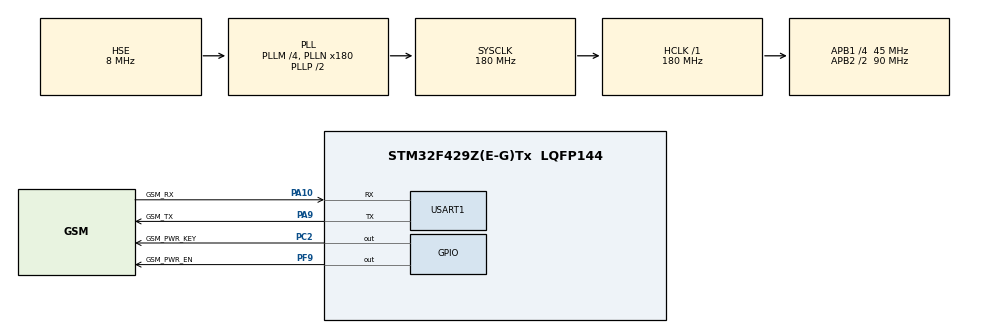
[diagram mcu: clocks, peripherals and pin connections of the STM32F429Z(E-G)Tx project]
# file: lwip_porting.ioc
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Dma.Request0=USART1_RX
Dma.Request1=USART1_TX
Dma.USART1_RX.0.Direction=DMA_PERIPH_TO_MEMORY
Dma.USART1_RX.0.FIFOMode=DMA_FIFOMODE_DISABLE
Dma.USART1_RX.0.Instance=DMA2_Stream2
Dma.USART1_RX.0.MemDataAlignment=DMA_MDATAALIGN_BYTE
Dma.USART1_RX.0.MemInc=DMA_MINC_ENABLE
Dma.USART1_RX.0.Mode=DMA_CIRCULAR
Dma.USART1_RX.0.PeriphDataAlignment=DMA_PDATAALIGN_BYTE
Dma.USART1_RX.0.PeriphInc=DMA_PINC_DISABLE
Dma.USART1_RX.0.Priority=DMA_PRIORITY_LOW
Dma.USART1_TX.1.Direction=DMA_MEMORY_TO_PERIPH
Dma.USART1_TX.1.FIFOMode=DMA_FIFOMODE_DISABLE
Dma.USART1_TX.1.Instance=DMA2_Stream7
Dma.USART1_TX.1.MemDataAlignment=DMA_MDATAALIGN_BYTE
Dma.USART1_TX.1.MemInc=DMA_MINC_ENABLE
Dma.USART1_TX.1.Mode=DMA_NORMAL
Dma.USART1_TX.1.PeriphDataAlignment=DMA_PDATAALIGN_BYTE
Dma.USART1_TX.1.PeriphInc=DMA_PINC_DISABLE
Dma.USART1_TX.1.Priority=DMA_PRIORITY_LOW
Mcu.Family=STM32F4
Mcu.Name=STM32F429Z(E-G)Tx
Mcu.Package=LQFP144
NVIC.DMA2_Stream2_IRQn=true\:0\:0\:false\:false\:true\:false\:true
NVIC.DMA2_Stream7_IRQn=true\:0\:0\:false\:false\:true\:false\:true
NVIC.PriorityGroup=NVIC_PRIORITYGROUP_4
NVIC.USART1_IRQn=true\:0\:0\:false\:false\:true\:true\:true
PA10.GPIO_Label=GSM_RX
PA10.Mode=Asynchronous
PA10.Signal=USART1_RX
PA13.Mode=Serial_Wire
PA13.Signal=SYS_JTMS-SWDIO
PA14.Mode=Serial_Wire
PA14.Signal=SYS_JTCK-SWCLK
PA9.GPIO_Label=GSM_TX
PA9.Mode=Asynchronous
PA9.Signal=USART1_TX
PC2.GPIO_Label=GSM_PWR_KEY
PC2.Signal=GPIO_Output
PF9.GPIO_Label=GSM_PWR_EN
PF9.Signal=GPIO_Output
PH0/OSC_IN.Mode=HSE-External-Oscillator
PH0/OSC_IN.Signal=RCC_OSC_IN
PH1/OSC_OUT.Mode=HSE-External-Oscillator
PH1/OSC_OUT.Signal=RCC_OSC_OUT
ProjectManager.HeapSize=0x200
ProjectManager.StackSize=0x400
ProjectManager.TargetToolchain=MDK-ARM V5.32
RCC.48MHZClocksFreq_Value=90000000
RCC.AHBFreq_Value=180000000
RCC.APB1CLKDivider=RCC_HCLK_DIV4
RCC.APB1Freq_Value=45000000
RCC.APB1TimFreq_Value=90000000
RCC.APB2CLKDivider=RCC_HCLK_DIV2
RCC.APB2Freq_Value=90000000
RCC.APB2TimFreq_Value=180000000
RCC.CortexFreq_Value=180000000
RCC.HCLKFreq_Value=180000000
RCC.HSE_VALUE=8000000
RCC.HSI_VALUE=16000000
RCC.LSE_VALUE=32768
RCC.PLLM=4
RCC.PLLN=180
RCC.PLLSourceVirtual=RCC_PLLSOURCE_HSE
RCC.SYSCLKFreq_VALUE=180000000
RCC.SYSCLKSource=RCC_SYSCLKSOURCE_PLLCLK
RCC.VCOOutputFreq_Value=360000000
USART1.VirtualMode=VM_ASYNC
board=custom

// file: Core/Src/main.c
/* USER CODE BEGIN Header */
/**
  ******************************************************************************
  * @file           : main.c
  * @brief          : Main program body
  ******************************************************************************
  * @attention
  *
  * <h2><center>&copy; Copyright (c) 2021 STMicroelectronics.
  * All rights reserved.</center></h2>
  *
  * This software component is licensed by ST under BSD 3-Clause license,
  * the "License"; You may not use this file except in compliance with the
  * License. You may obtain a copy of the License at:
  *                        opensource.org/licenses/BSD-3-Clause
  *
  ******************************************************************************
  */
/* USER CODE END Header */
#include "main.h"
#include "dma.h"
#include "usart.h"
#include "gpio.h"

/* USER CODE BEGIN Includes */
#include "init.h"
#include "ppp.h"
#include "dns.h"
#include "app_debug.h"
#include "gsm.h"
#include "mqtt_client.h"
#include "app_http.h"
/* USER CODE END Includes */

/* USER CODE BEGIN PTD */
#define HTTP_ENABLE	0
#define MQTT_ENABLE	1
/* USER CODE END PTD */

void SystemClock_Config(void);

/* USER CODE BEGIN 0 */
static void dns_initialize(void);
/* USER CODE END 0 */

int main(void)
{

  /* MCU Configuration--------------------------------------------------------*/

  /* Reset of all peripherals, Initializes the Flash interface and the Systick. */
  HAL_Init();

  /* Configure the system clock */
  SystemClock_Config();

  /* Initialize all configured peripherals */
  MX_GPIO_Init();
  MX_DMA_Init();
  MX_USART1_UART_Init();
  /* USER CODE BEGIN 2 */
    dns_initialize();
    lwip_init();
    DEBUG_INFO("Application started\r\n");
    gsm_init_hw();

    /* Init mqtt parameter */
    static mqtt_client_cfg_t mqtt_cfg =
    {
        .periodic_sub_req_s = 120,            // second
        .broker_addr = "broker.hivemq.com",
        .port = 1883,
        .password = NULL,
        .client_id = "test_lwip_porting",
    };
    mqtt_client_initialize(&mqtt_cfg);

    // Init http parameters
#if HTTP_ENABLE
    bool m_http_test_started = false;
#endif
  /* USER CODE END 2 */

  /* Infinite loop */
  while (1)
  {

    /* USER CODE BEGIN 3 */
    gsm_mnr_task(NULL);
#if MQTT_ENABLE
    mqtt_client_polling_task(NULL);
#endif

#if HTTP_ENABLE
    if (gsm_data_layer_is_ppp_connected() && m_http_test_started == false)
    {
        m_http_test_started = true;
        // http://httpbin.org/get
        app_http_config_t http_cfg;
        sprintf(http_cfg.url, "%s", "httpbin.org");
        http_cfg.port = 80;
        sprintf(http_cfg.file, "%s", "/get");
        http_cfg.on_event_cb = (void*)0;
        app_http_start(&http_cfg);
    }
#endif
  }
  /* USER CODE END 3 */
}

void SystemClock_Config(void)
{
  RCC_OscInitTypeDef RCC_OscInitStruct = {0};
  RCC_ClkInitTypeDef RCC_ClkInitStruct = {0};

  /** Configure the main internal regulator output voltage
  */
  __HAL_RCC_PWR_CLK_ENABLE();
  __HAL_PWR_VOLTAGESCALING_CONFIG(PWR_REGULATOR_VOLTAGE_SCALE1);
  /** Initializes the RCC Oscillators according to the specified parameters
  * in the RCC_OscInitTypeDef structure.
  */
  RCC_OscInitStruct.OscillatorType = RCC_OSCILLATORTYPE_HSE;
  RCC_OscInitStruct.HSEState = RCC_HSE_ON;
  RCC_OscInitStruct.PLL.PLLState = RCC_PLL_ON;
  RCC_OscInitStruct.PLL.PLLSource = RCC_PLLSOURCE_HSE;
  RCC_OscInitStruct.PLL.PLLM = 4;
  RCC_OscInitStruct.PLL.PLLN = 180;
  RCC_OscInitStruct.PLL.PLLP = RCC_PLLP_DIV2;
  RCC_OscInitStruct.PLL.PLLQ = 4;
  if (HAL_RCC_OscConfig(&RCC_OscInitStruct) != HAL_OK)
  {
    Error_Handler();
  }
  /** Activate the Over-Drive mode
  */
  if (HAL_PWREx_EnableOverDrive() != HAL_OK)
  {
    Error_Handler();
  }
  /** Initializes the CPU, AHB and APB buses clocks
  */
  RCC_ClkInitStruct.ClockType = RCC_CLOCKTYPE_HCLK|RCC_CLOCKTYPE_SYSCLK
                              |RCC_CLOCKTYPE_PCLK1|RCC_CLOCKTYPE_PCLK2;
  RCC_ClkInitStruct.SYSCLKSource = RCC_SYSCLKSOURCE_PLLCLK;
  RCC_ClkInitStruct.AHBCLKDivider = RCC_SYSCLK_DIV1;
  RCC_ClkInitStruct.APB1CLKDivider = RCC_HCLK_DIV4;
  RCC_ClkInitStruct.APB2CLKDivider = RCC_HCLK_DIV2;

  if (HAL_RCC_ClockConfig(&RCC_ClkInitStruct, FLASH_LATENCY_5) != HAL_OK)
  {
    Error_Handler();
  }
}

/* USER CODE BEGIN 4 */
uint32_t sys_get_tick_ms(void)
{
    return uwTick;
}

static void dns_initialize(void)
{
    ip_addr_t dns_server_0 = IPADDR4_INIT_BYTES(8, 8, 8, 8);
    ip_addr_t dns_server_1 = IPADDR4_INIT_BYTES(1, 1, 1, 1);
    dns_setserver(0, &dns_server_0);
    dns_setserver(1, &dns_server_1);
    dns_init();
}

uint32_t sys_rand()
{
    return SysTick->VAL;
}
/* USER CODE END 4 */

void Error_Handler(void)
{
  /* USER CODE BEGIN Error_Handler_Debug */
  /* User can add his own implementation to report the HAL error return state */
  __disable_irq();
  while (1)
  {
      NVIC_SystemReset();
  }
  /* USER CODE END Error_Handler_Debug */
}

#ifdef  USE_FULL_ASSERT
/**
  * @brief  Reports the name of the source file and the source line number
  *         where the assert_param error has occurred.
  * @param  file: pointer to the source file name
  * @param  line: assert_param error line source number
  * @retval None
  */
void assert_failed(uint8_t *file, uint32_t line)
{
  /* USER CODE BEGIN 6 */
    DEBUG_ERROR("Assert failed on file %s, line %u\r\n", (char*)file, line);
    Error_Handler();
  /* User can add his own implementation to report the file name and line number,
     ex: printf("Wrong parameters value: file %s on line %d\r\n", file, line) */
  /* USER CODE END 6 */
}
#endif /* USE_FULL_ASSERT */

/************************ (C) COPYRIGHT STMicroelectronics *****END OF FILE****/
